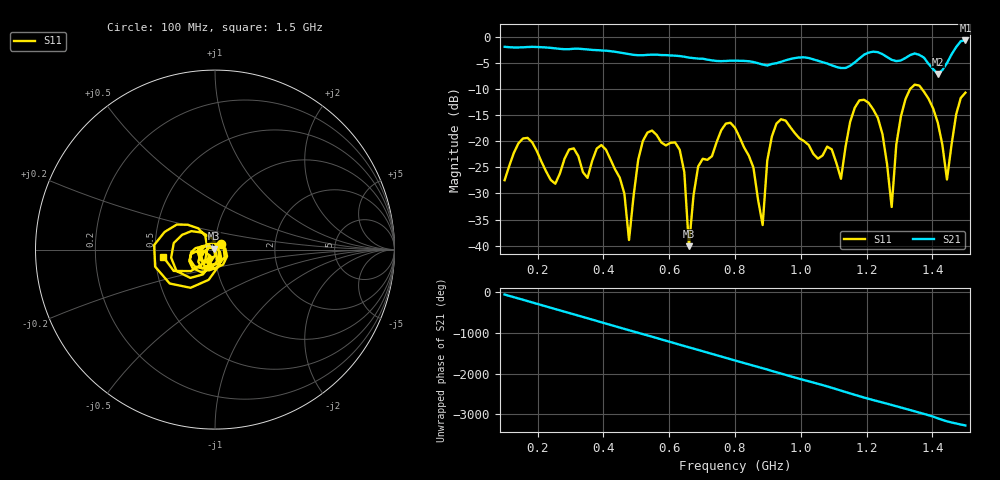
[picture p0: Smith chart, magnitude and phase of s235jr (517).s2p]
! NanoVNA-App
! Date: 2025-09-25 15:08:11
! Start: 100MHz Stop: 1,5GHz Points: 101
! S-Parameter data: F S11 S21 S12 S22
# Hz S RI R 50
!  Frequency  S11_Real  S11_Imag  S21_Real  S21_Imag  S12_Real  S12_Imag  S22_Real  S22_Imag
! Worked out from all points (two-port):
!   101 points, 100 MHz to 1.5 GHz, reference 50 ohm
!   highest |S21| = -0.75 dB at 1.5 GHz (marker M1); lowest = -7.2 dB at 1.416 GHz (marker M2)
!   |S21| within 3 dB of the highest: start of sweep to 633.6 MHz; 1.187 GHz to 1.258 GHz (71.01 MHz wide, 5.81 % of centre) (the widest 2 of 4)
!   lowest |S11| = -40.1 dB at 660 MHz (marker M3), VSWR 1.02, Z = 49.2 + j0.55 ohm
!   |S11| at or under -10 dB: start of sweep to 1.332 GHz; 1.368 GHz to end of sweep
!   S12 and S22 are empty: the file has one direction only
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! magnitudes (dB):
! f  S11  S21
! 100 MHz  -27.5  -2.0
! 170 MHz  -19.4  -2.0
! 338 MHz  -25.9  -2.4
! 408 MHz  -21.6  -2.7
! 478 MHz  -38.9  -3.4
! 520 MHz  -20.0  -3.6
! 576 MHz  -20.2  -3.5
! 632 MHz  -21.7  -3.7
! 660 MHz  -40.1  -4.0
! 688 MHz  -24.9  -4.2
! 800 MHz  -17.4  -4.6
! 884 MHz  -36.0  -5.4
! 926 MHz  -16.6  -5.1
! 1.038 GHz  -22.4  -4.4
! 1.122 GHz  -27.2  -6.0
! 1.164 GHz  -13.6  -4.9
! 1.206 GHz  -12.7  -3.1
! 1.276 GHz  -32.6  -4.4
! 1.332 GHz  -10.0  -3.6
! 1.416 GHz  -16.4  -7.2
! 1.444 GHz  -27.3  -5.1
! 1.5 GHz  -10.7  -0.7
